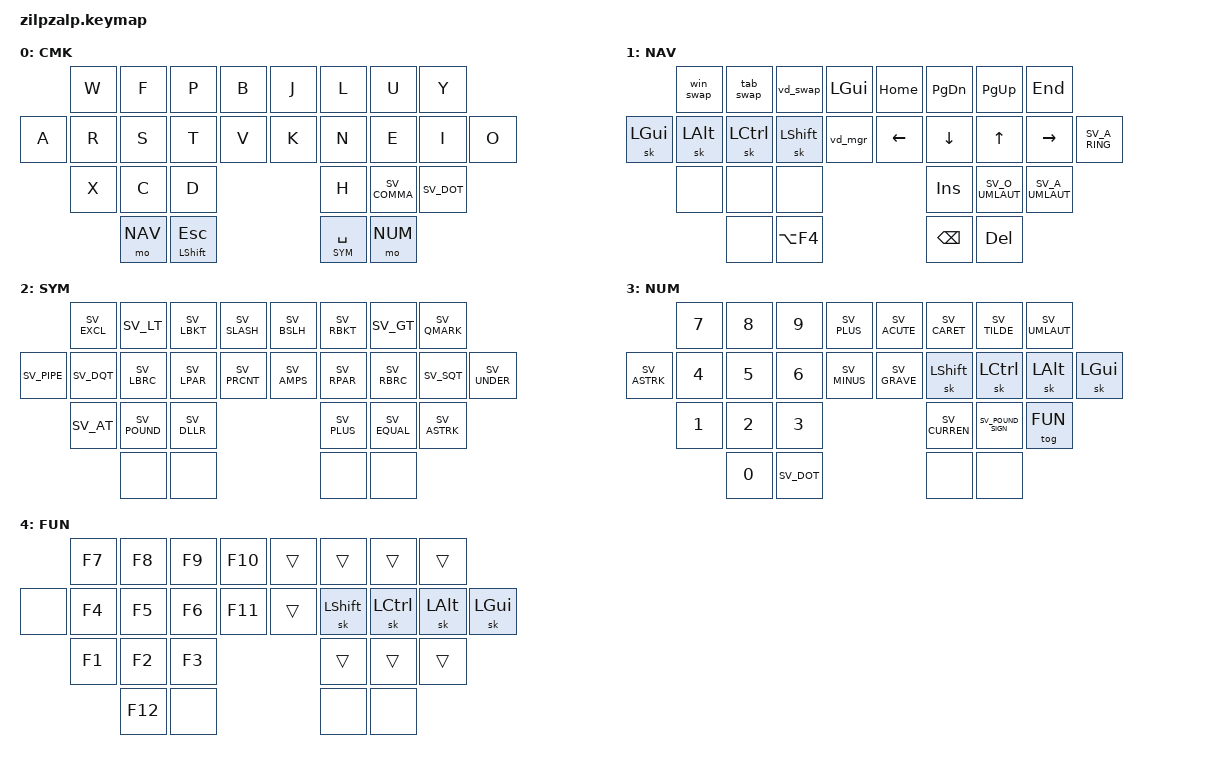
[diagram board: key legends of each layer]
#include <behaviors.dtsi>
#include <dt-bindings/zmk/keys.h>
#include <dt-bindings/zmk/outputs.h>
#include "keys_sv.h"

#define CMK 0
#define NAV 1
#define SYM 2
#define NUM 3
#define FUN 4

#define COMBO_IDLE 150

// Keycode defines
#define VD_NEW          LC(LG(D))
#define VD_LEFT         LC(LG(LEFT))
#define VD_RIGHT        LC(LG(RIGHT))
#define VD_CLOSE        LC(LG(F4))

&lt {
        flavor = "tap-preferred";
        require-prior-idle-ms = <125>;
        tapping-term-ms = <175>;
        retro-tap;
};

&mt {
        flavor = "hold-preferred";
};

&sk {
        release-after-ms = <2000>;
        quick-release;
};

//     __________________________  __________________________
//    /     0  |  1  |  2  |  3  \/   4 |   5 |   6 |   7    \
// |  8  |  9  | 10  | 11  | 12  /\  13 |  14 |  15 |  16 | 17  |
//    \    18  | 19  | 20    /        \    21 |  22 |  23   /
//          \    24  | 25  /            \  26 |  27    /
//           --------------              --------------
/ {
        conditional_layers {
                compatible = "zmk,conditional-layers";
                tri_layer {
                        if-layers = <NUM FUN>;
                        then-layer = <FUN>;
                };
        };

        combos {
                compatible = "zmk,combos";
                combo_bksp {
                        timeout-ms = <30>;
                        key-positions = <14 15>;
                        bindings = <&kp BACKSPACE>;
                };
                combo_backwards_del {
                        timeout-ms = <45>;
                        key-positions = <14 15 16>;
                        bindings = <&kp LC(BACKSPACE)>;
                };
                combo_backwards_del_term {
                        timeout-ms = <45>;
                        key-positions = <5 6 7>;
                        bindings = <&kp LA(BACKSPACE)>;
                };
                combo_tab {
                        timeout-ms = <25>;
                        key-positions = <10 11>;
                        bindings = <&kp TAB>;
                        require-prior-idle-ms = <COMBO_IDLE>;
                };
                combo_return {
                        timeout-ms = <50>;
                        key-positions = <16 17>;
                        bindings = <&kp RET>;
                        require-prior-idle-ms = <COMBO_IDLE>;
                };
                combo_q {
                        timeout-ms = <35>;
                        key-positions = <8 9>;
                        bindings = <&kp Q>;
                };
                combo_z {
                        timeout-ms = <35>;
                        key-positions = <8 18>;
                        bindings = <&kp Z>;
                };
                combo_m {
                        timeout-ms = <50>;
                        key-positions = <4 13>;
                        bindings = <&kp M>;
                };
                combo_g {
                        timeout-ms = <50>;
                        key-positions = <3 12>;
                        bindings = <&kp G>;
                        layers = <CMK NAV SYM FUN>;
                };
                combo_eql {
                        timeout-ms = <50>;
                        key-positions = <3 12>;
                        bindings = <&kp SV_EQUAL>;
                        layers = <NUM>;
                };
                combo__ {
                        timeout-ms = <50>;
                        key-positions = <8 17>;
                        bindings = <&kp SV_MINUS>;
                        require-prior-idle-ms = <COMBO_IDLE>;
                };
                combo_bootloader {
                        timeout-ms = <50>;
                        key-positions = <18 19 20>;
                        layers = <NAV>;
                        bindings = <&bootloader>;
                        require-prior-idle-ms = <COMBO_IDLE>;
                };
                combo_reset {
                        timeout-ms = <50>;
                        key-positions = <21 22 23>;
                        layers = <NUM>;
                        bindings = <&sys_reset>;
                        require-prior-idle-ms = <COMBO_IDLE>;
                };
        };


        behaviors {
                win_swap: win_swapper {
                        compatible = "zmk,behavior-tri-state";
                        label = "WIN SWAPPER";
                        #binding-cells = <0>;
                        bindings = <&kt LALT>, <&kp TAB>, <&kt LALT>;
                        tap-ms = <2>;
                        ignored-key-positions = <11 14>;
                };

                tab_swap: tab_swapper {
                        compatible = "zmk,behavior-tri-state";
                        label = "TAB SWAPPER";
                        #binding-cells = <0>;
                        bindings = <&kt LCTRL>, <&kp TAB>, <&kt LCTRL>;
                        ignored-key-positions = <11 14>;
                };

                vd_swap: vd_swapper {
                        compatible = "zmk,behavior-mod-morph";
                        label = "VD SWAPPER";
                        #binding-cells = <0>;
                        bindings = <&kp LC(LG(RIGHT))>, <&kp LC(LG(LEFT))>;
                        mods = <(MOD_LSFT)>;
                };

                vd_mgr: vd_manager {
                        compatible = "zmk,behavior-mod-morph";
                        label = "VD MANAGER";
                        #binding-cells = <0>;
                        bindings = <&kp LC(LG(SV_D))>, <&kp LC(LG(F4))>;
                        mods = <(MOD_LSFT)>;
                };
        };

// zilpzalp key numbers
//     __________________________  __________________________
//    /     0  |  1  |  2  |  3  \/   4 |   5 |   6 |   7    \
// |  8  |  9  | 10  | 11  | 12  /\  13 |  14 |  15 |  16 | 17  |
//    \    18  | 19  | 20    /        \    21 |  22 |  23   /
//          \    24  | 25  /            \  26 |  27    /
//           --------------              --------------

    keymap {
        compatible = "zmk,keymap";

        colemak {
            label = "CMK";

            bindings = <
                            &kp W       &kp F       &kp P       &kp B       &kp J       &kp L       &kp U       &kp Y
                &kp A       &kp R       &kp S       &kp T       &kp V       &kp K       &kp N       &kp E       &kp I       &kp O
                            &kp X       &kp C       &kp D                               &kp H       &kp SV_COMMA &kp SV_DOT
                                        &mo NAV     &mt LSHFT ESC               &lt SYM SPACE       &mo NUM
            >;
        };
        navigation_layer {
            label = "NAV";

            bindings = <
                                &win_swap       &tab_swap       &vd_swap        &kp LGUI        &kp HOME        &kp PG_DN       &kp PG_UP       &kp END
                &sk LGUI        &sk LALT        &sk LCTRL       &sk LSHFT       &vd_mgr         &kp LEFT        &kp DOWN        &kp UP          &kp RIGHT       &kp SV_A_RING
                                &none           &none           &none                                           &kp INS         &kp SV_O_UMLAUT &kp SV_A_UMLAUT
                                                                &none           &kp LA(F4)      &kp BSPC        &kp DEL
            >;
        };
        symbol_layer {
            label = "SYM";

            bindings = <
                                &kp SV_EXCL     &kp SV_LT       &kp SV_LBKT     &kp SV_SLASH    &kp SV_BSLH     &kp SV_RBKT     &kp SV_GT       &kp SV_QMARK
                &kp SV_PIPE     &kp SV_DQT      &kp SV_LBRC     &kp SV_LPAR     &kp SV_PRCNT    &kp SV_AMPS     &kp SV_RPAR     &kp SV_RBRC     &kp SV_SQT      &kp SV_UNDER
                                &kp SV_AT       &kp SV_POUND    &kp SV_DLLR                                     &kp SV_PLUS     &kp SV_EQUAL    &kp SV_ASTRK
                                                                &none           &none           &none           &none
            >;
        };
        number_layer {
            label = "NUM";

            bindings = <
                                &kp N7          &kp N8          &kp N9          &kp SV_PLUS     &kp SV_ACUTE    &kp SV_CARET    &kp SV_TILDE    &kp SV_UMLAUT
                &kp SV_ASTRK    &kp N4          &kp N5          &kp N6          &kp SV_MINUS    &kp SV_GRAVE    &sk LSHFT       &sk LCTRL       &sk LALT        &sk LGUI
                                &kp N1          &kp N2          &kp N3                                          &kp SV_CURREN   &kp SV_POUND_SIGN &tog FUN
                                                                &kp N0          &kp SV_DOT      &none           &none
            >;
        };
        function_layer {
            label = "FUN";

            bindings = <
                                &kp F7          &kp F8          &kp F9          &kp F10         &trans          &trans          &trans          &trans
                &none           &kp F4          &kp F5          &kp F6          &kp F11         &trans          &sk LSHFT       &sk LCTRL       &sk LALT        &sk LGUI
                                &kp F1          &kp F2          &kp F3                                          &trans          &trans          &trans
                                                                &kp F12         &none           &none           &none
            >;
        };

    };
};
